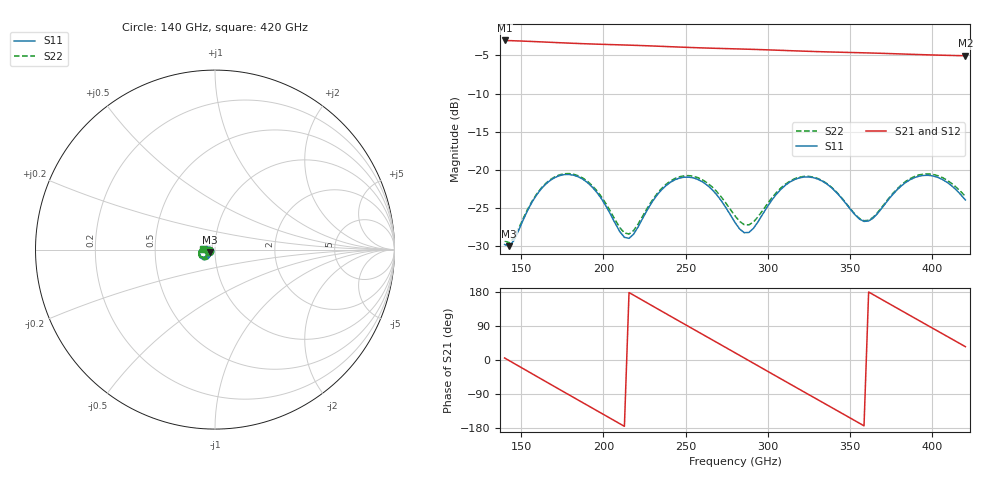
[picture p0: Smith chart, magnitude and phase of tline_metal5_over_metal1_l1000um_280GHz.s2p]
#  GHZ S DB R 50
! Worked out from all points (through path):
!   101 points, 140 GHz to 420 GHz, reference 50 ohm
!   highest |S21| = -3.04 dB at 140 GHz (marker M1); lowest = -5.0 dB at 420 GHz (marker M2)
!   group delay of S21, straight-line fit = 6.84 ps
!   lowest |S11| = -30.0 dB at 142.8 GHz (marker M3), VSWR 1.07, Z = 47.3 - j1.44 ohm
!   |S11| at or under -10 dB: start of sweep to end of sweep
!   |S22| runs from -29.5 to -20.5 dB; largest |S21 - S12| = 1.3e-13
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140  -29.74 -164.8  -3.04 5.3  -3.04 5.3  -29.27 -164.3
142.8  -29.96 -151.4  -3.06 -1.6  -3.06 -1.6  -29.51 -151.8
154  -25.27 -126.6  -3.15 -29.6  -3.15 -29.6  -25.13 -127.2
168  -21.31 -141.3  -3.28 -64.4  -3.28 -64.4  -21.21 -140.9
187.6  -21.21 -173.0  -3.46 -112.8  -3.46 -112.8  -21.06 -171.7
201.6  -24.72 173.2  -3.56 -147.4  -3.56 -147.4  -24.41 175.1
215.6  -28.94 -157.8  -3.65 178.0  -3.65 178.0  -28.37 -157.9
235.2  -22.62 -140.4  -3.81 129.4  -3.81 129.4  -22.46 -140.4
246.4  -21.04 -155.1  -3.90 101.8  -3.90 101.8  -20.87 -154.3
257.6  -21.24 -171.4  -3.99 74.2  -3.99 74.2  -21.00 -169.8
280  -26.86 179.3  -4.14 19.1  -4.14 19.1  -26.00 -178.8
288.4  -28.17 -157.3  -4.19 -1.6  -4.19 -1.6  -27.18 -159.5
299.6  -24.81 -138.8  -4.27 -29.3  -4.27 -29.3  -24.44 -142.4
313.6  -21.54 -148.8  -4.37 -63.8  -4.37 -63.8  -21.42 -150.9
327.6  -20.99 -167.0  -4.48 -98.1  -4.48 -98.1  -20.92 -168.1
338.8  -22.34 -179.1  -4.55 -125.6  -4.55 -125.6  -22.28 -179.6
352.8  -25.83 -177.0  -4.62 -159.9  -4.62 -159.9  -25.76 -176.9
361.2  -26.67 -159.1  -4.67 179.4  -4.67 179.4  -26.57 -158.8
375.2  -23.36 -144.5  -4.76 144.9  -4.76 144.9  -23.23 -143.9
386.4  -21.26 -152.7  -4.84 117.4  -4.84 117.4  -21.12 -151.7
397.6  -20.69 -166.0  -4.92 90.0  -4.92 90.0  -20.50 -164.5
420  -23.91 176.7  -5.04 35.2  -5.04 35.2  -23.45 179.1
